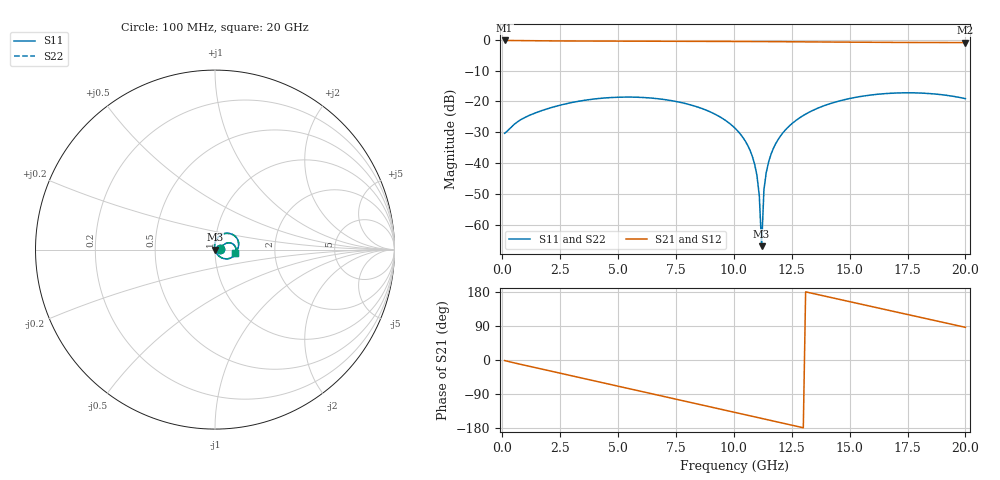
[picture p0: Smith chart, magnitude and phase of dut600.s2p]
! Touchstone file exported from HFSS 2026.1.0
!  File:  C:/ffzhzh/LocalFiles/Ansys_Project_Files/temp_train_TSV_RDL_600_1783121950_53076.aedt
!  Generated:  07:46:36 AM Jul  4, 2026
!  Design:  TSV_RDL
!  Project:  temp_train_TSV_RDL_600_1783121950_53076
! Variables:
!  h_bsmrdl = 3.2um
!  h_ox = 20um
!  h_rdl = 5um
!  h_sub = 54.63um
!  h_tmrdl = 2.19um
!  h_tsv = 54.63um
!  h_via = 3um
!  l_bsmrdl = 416.38um
!  l_sub = 4077.54um
!  l_tmrdl = 582.41um
!  m_sub = 200um
!  pitch = 26.96um
!  r_tsv = 12.75um
!  s_tmrdl = 10um
!  w_bsmrdl = 12.48um
!  w_sub = 500um
!  w_tmrdl = 20.44um
!  x_tsv_center1 = 592.63um
!  x_tsv_center2 = 1021.49um
!  x_tsv_center3 = 1624.34um
!  x_tsv_center4 = 2053.2um
!  x_tsv_center5 = 2656.05um
!  x_tsv_center6 = 3084.91um
# GHz S MA R 50.000000
! Terminal data exported
! Port[1] = TM_RDL1_1_T1
! Port[2] = TM_RDL5_1_T1
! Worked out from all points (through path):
!   200 points, 100 MHz to 20 GHz, reference 50 ohm
!   highest |S21| = -0.26 dB at 100 MHz (marker M1); lowest = -1.0 dB at 20 GHz (marker M2)
!   group delay of S21, straight-line fit = 38 ps
!   lowest |S11| = -66.9 dB at 11.2 GHz (marker M3), VSWR 1.00, Z = 50 + j0.0321 ohm
!   |S11| at or under -10 dB: start of sweep to end of sweep
!   |S22| runs from -66.1 to -17.2 dB; largest |S21 - S12| = 3.6e-14
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0.1  0.03046 8.8  0.97 -1.5  0.97 -1.5  0.03046 8.8
! Gamma 0 0 0 0
! Port Impedance 50 0 50 0
1.3  0.06228 30.0  0.957 -18.4  0.957 -18.4  0.06228 30.0
3.5  0.1035 18.0  0.9489 -48.5  0.9489 -48.5  0.1035 18.0
5.2  0.1173 0.3  0.9444 -71.7  0.9444 -71.7  0.1173 0.2
6.8  0.1096 -18.8  0.9415 -93.5  0.9415 -93.5  0.1096 -18.9
8.8  0.07226 -44.2  0.9383 -121.0  0.9383 -121.0  0.0723 -44.3
10.1  0.03527 -61.4  0.935 -138.9  0.935 -138.9  0.03531 -61.6
10.6  0.01936 -68.2  0.9332 -145.8  0.9332 -145.8  0.0194 -68.6
10.9  0.009549 -72.9  0.9321 -149.9  0.9321 -149.9  0.009589 -73.6
11  0.006249 -74.9  0.9317 -151.3  0.9317 -151.3  0.006291 -76.0
11.1  0.00294 -78.6  0.9313 -152.7  0.9313 -152.7  0.002988 -80.8
11.2  0.0004521 134.7  0.9308 -154.1  0.9308 -154.1  0.0004962 148.8
11.3  0.003727 106.7  0.9304 -155.4  0.9304 -155.4  0.003701 108.6
11.4  0.007058 103.7  0.9299 -156.8  0.9299 -156.8  0.007028 104.7
11.6  0.01373 100.2  0.929 -159.6  0.929 -159.6  0.0137 100.7
11.9  0.02371 95.8  0.9275 -163.7  0.9275 -163.7  0.02368 96.1
12.3  0.03688 90.4  0.9254 -169.2  0.9254 -169.2  0.03685 90.5
13.4  0.07113 75.7  0.9192 175.7  0.9192 175.7  0.0711 75.8
14.9  0.1092 56.1  0.9105 155.3  0.9105 155.3  0.1092 56.1
16.7  0.1349 32.8  0.9022 131.0  0.9022 131.0  0.1349 32.8
18.4  0.1343 11.2  0.8979 108.0  0.8979 108.0  0.1343 11.1
20  0.1108 -8.7  0.8962 86.2  0.8962 86.2  0.1108 -8.9
